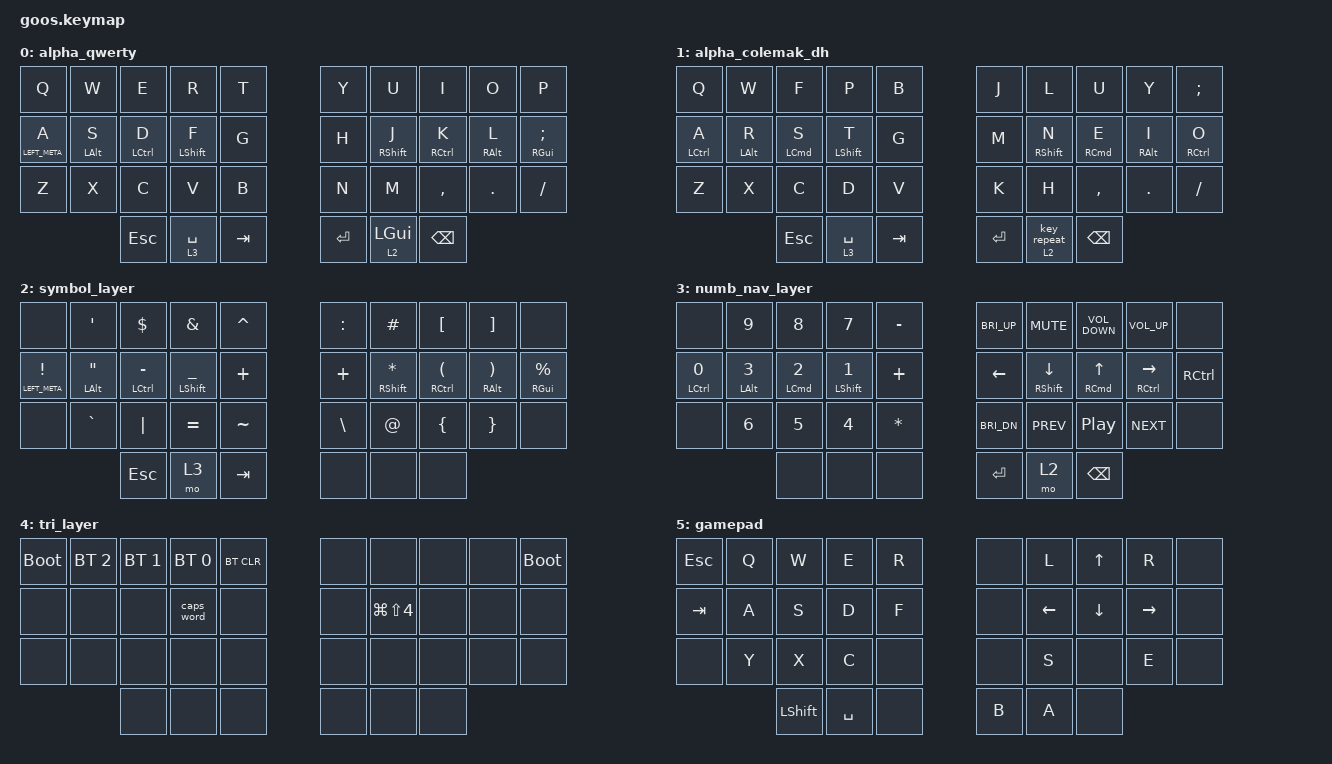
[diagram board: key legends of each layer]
/*
 * Copyright (c) 2021 The ZMK Contributors
 *
 * SPDX-License-Identifier: MIT
 */

#include <behaviors.dtsi>
#include <dt-bindings/zmk/bt.h>
#include <dt-bindings/zmk/keys.h>

&lt { flavor = "hold-preferred"; };

/ {
    conditional_layers {
        compatible = "zmk,conditional-layers";

        Tri {
            if-layers = <3 2>;
            then-layer = <4>;
        };
    };

    behaviors {
        hrm: home_row_mods {
            compatible = "zmk,behavior-hold-tap";
            label = "HOME_ROW_MODS";
            #binding-cells = <2>;
            flavor = "balanced";
            tapping-term-ms = <200>;
            bindings = <&kp>, <&kp>;

            quick-tap-ms = <200>;
        };

        lt_repeat: lt_repeat {
            compatible = "zmk,behavior-hold-tap";
            label = "LT_REPEAT";
            bindings = <&mo>, <&key_repeat>;

            #binding-cells = <2>;
            flavor = "hold-preferred";
            tapping-term-ms = <200>;
        };
    };

    combos {
        compatible = "zmk,combos";

        Gamepad {
            bindings = <&tog 5>;
            key-positions = <9 29>;
        };

        toggle_colemak {
            bindings = <&tog 1>;
            key-positions = <0 20>;
        };

        dollar {
            bindings = <&kp DOLLAR>;
            key-positions = <16 17>;
        };

        exitwim {
            bindings = <&exit_vim>;
            key-positions = <10 11>;
        };
    };

    macros {
        exit_vim: new_macro {
            compatible = "zmk,behavior-macro";
            #binding-cells = <0>;
            bindings = <&none &kp ESCAPE &kp COLON &kp Q &kp EXCL &kp ENTER>;
            label = "NEW_MACRO";
        };
    };

    keymap {
        compatible = "zmk,keymap";

        alpha_qwerty {
            bindings = <
&kp Q             &kp W            &kp E                &kp R              &kp T                              &kp Y           &kp U               &kp I                 &kp O             &kp P
&hrm LEFT_META A  &hrm LEFT_ALT S  &hrm LEFT_CONTROL D  &hrm LEFT_SHIFT F  &kp G                              &kp H           &hrm RIGHT_SHIFT J  &hrm RIGHT_CONTROL K  &hrm RIGHT_ALT L  &hrm RIGHT_GUI SEMICOLON
&kp Z             &kp X            &kp C                &kp V              &kp B                              &kp N           &kp M               &kp COMMA             &kp DOT           &kp SLASH
                                                        &kp ESC            &lt 3 SPACE  &kp TAB    &kp ENTER  &lt 2 LEFT_GUI  &kp BSPC
            >;
        };

        alpha_colemak_dh {
            bindings = <
&kp Q                &kp W            &kp F                &kp P              &kp B                              &kp J           &kp L               &kp U                 &kp Y             &kp SEMICOLON
&hrm LEFT_CONTROL A  &hrm LEFT_ALT R  &hrm LEFT_COMMAND S  &hrm LEFT_SHIFT T  &kp G                              &kp M           &hrm RIGHT_SHIFT N  &hrm RIGHT_COMMAND E  &hrm RIGHT_ALT I  &hrm RIGHT_CONTROL O
&kp Z                &kp X            &kp C                &kp D              &kp V                              &kp K           &kp H               &kp COMMA             &kp DOT           &kp SLASH
                                                           &kp ESC            &lt 3 SPACE  &kp TAB    &kp ENTER  &lt_repeat 2 0  &kp BSPC
            >;
        };

        Symbol {
            bindings = <
&none                       &kp SINGLE_QUOTE             &kp DOLLAR               &kp AMPERSAND               &kp CARET                    &kp COLON      &kp POUND               &kp LEFT_BRACKET                     &kp RIGHT_BRACKET                 &none
&hrm LEFT_META EXCLAMATION  &hrm LEFT_ALT DOUBLE_QUOTES  &hrm LEFT_CONTROL MINUS  &hrm LEFT_SHIFT UNDERSCORE  &kp PLUS                     &kp PLUS       &hrm RIGHT_SHIFT ASTRK  &hrm RIGHT_CONTROL LEFT_PARENTHESIS  &hrm RIGHT_ALT RIGHT_PARENTHESIS  &hrm RGUI PERCENT
&none                       &kp GRAVE                    &kp PIPE                 &kp EQUAL                   &kp TILDE                    &kp BACKSLASH  &kp AT_SIGN             &kp LEFT_BRACE                       &kp RIGHT_BRACE                   &none
                                                                                  &kp ESC                     &mo 3      &kp TAB    &none  &none          &none
            >;

            label = "symbol_layer";
        };

        Numbers_Navigation {
            bindings = <
&none                 &kp NUMBER_9      &kp NUMBER_8          &kp NUMBER_7        &kp MINUS                      &kp C_BRI_UP  &kp C_MUTE             &kp C_VOLUME_DOWN      &kp C_VOLUME_UP           &none
&hrm LEFT_CONTROL N0  &hrm LEFT_ALT N3  &hrm LEFT_COMMAND N2  &hrm LEFT_SHIFT N1  &kp PLUS                       &kp LEFT      &hrm RIGHT_SHIFT DOWN  &hrm RIGHT_COMMAND UP  &hrm RIGHT_CONTROL RIGHT  &kp RIGHT_CONTROL
&none                 &kp NUMBER_6      &kp NUMBER_5          &kp NUMBER_4        &kp STAR                       &kp C_BRI_DN  &kp C_PREV             &kp C_PP               &kp C_NEXT                &none
                                                              &none               &none      &none    &kp ENTER  &mo 2         &kp BSPC
            >;

            label = "numb_nav_layer";
        };

        Tri {
            bindings = <
&bootloader  &bt BT_SEL 2  &bt BT_SEL 1  &bt BT_SEL 0  &bt BT_CLR                  &none  &none           &none  &none  &bootloader
&none        &none         &none         &caps_word    &none                       &none  &kp LG(LS(N4))  &none  &none  &none
&none        &none         &none         &none         &none                       &none  &none           &none  &none  &none
                                         &none         &none       &none    &none  &none  &none
            >;

            label = "tri_layer";
        };

        gamepad {
            bindings = <
&kp ESC  &kp Q  &kp W  &kp E      &kp R                      &none  &kp L     &kp UP    &kp R      &none
&kp TAB  &kp A  &kp S  &kp D      &kp F                      &none  &kp LEFT  &kp DOWN  &kp RIGHT  &none
&none    &kp Y  &kp X  &kp C      &none                      &none  &kp S     &none     &kp E      &none
                       &kp LSHFT  &kp SPACE  &none    &kp B  &kp A  &none
            >;
        };
    };
};
